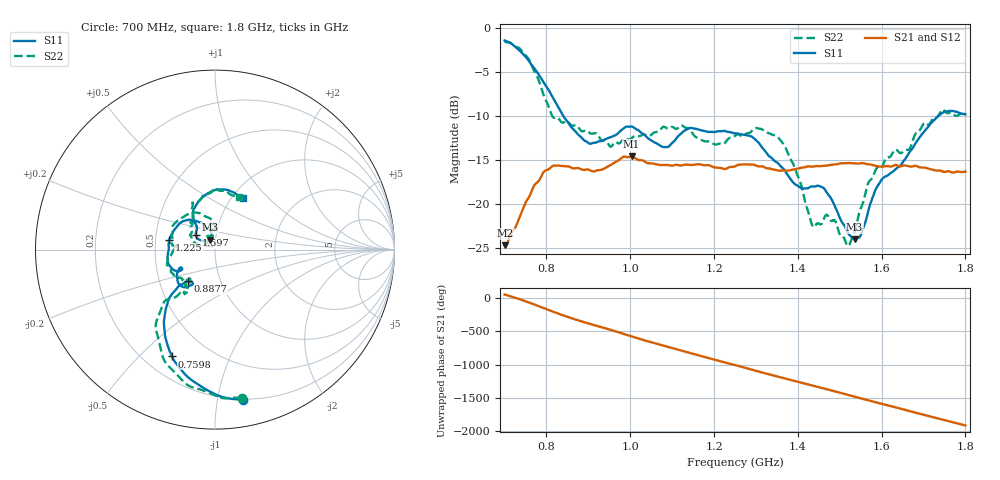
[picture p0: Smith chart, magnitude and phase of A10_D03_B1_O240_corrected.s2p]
! Created with skrf 1.9.0 (http://scikit-rf.org).
# Hz S RI R 50.0
!freq ReS11 ImS11 ReS21 ImS21 ReS12 ImS12 ReS22 ImS22
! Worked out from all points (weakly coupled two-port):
!   1601 points, 700 MHz to 1.8 GHz, reference 50 ohm
!   highest |S21| = -14.55 dB at 1.003 GHz (marker M1); lowest = -24.6 dB at 701.4 MHz (marker M2)
!   lowest |S11| = -24.0 dB at 1.535 GHz (marker M3), VSWR 1.14, Z = 46.9 + j5.29 ohm
!   |S11| at or under -10 dB: 840.6 MHz to 1.735 GHz (893.9 MHz wide, 69.4 % of centre)
!   |S22| runs from -24.7 to -1.5 dB; largest |S21 - S12| = 0.0035
!   S11 on the Smith chart (normalised r, x): 700 MHz: 0.20, -1.19; 759.8 MHz: 0.31, -0.63; 887.7 MHz: 0.70, -0.26; 1.225 GHz: 0.59, +0.07; 1.597 GHz: 0.80, +0.13; 1.8 GHz: 1.12, +0.72
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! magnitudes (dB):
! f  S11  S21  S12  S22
! 700 MHz  -1.4  -24.6  -24.4  -1.5
! 701.4 MHz  -1.4  -24.6  -24.3  -1.5
! 759.8 MHz  -3.9  -19.0  -18.9  -3.7
! 814.8 MHz  -7.8  -15.6  -15.7  -10.1
! 883.6 MHz  -12.4  -16.0  -15.9  -11.7
! 887.7 MHz  -12.6  -16.1  -16.0  -11.7
! 953 MHz  -12.4  -15.5  -15.5  -13.5
! 1.003 GHz  -11.2  -14.6  -14.7  -12.5
! 1.067 GHz  -13.2  -15.5  -15.4  -11.7
! 1.225 GHz  -11.7  -16.0  -15.9  -13.1
! 1.25 GHz  -11.9  -15.7  -15.6  -12.2
! 1.355 GHz  -15.5  -16.2  -16.1  -12.5
! 1.393 GHz  -17.7  -16.0  -16.0  -15.9
! 1.434 GHz  -18.0  -15.7  -15.7  -22.3
! 1.471 GHz  -18.8  -15.6  -15.6  -21.2
! 1.52 GHz  -23.2  -15.3  -15.3  -24.7
! 1.535 GHz  -24.0  -15.3  -15.4  -23.2
! 1.568 GHz  -20.7  -15.4  -15.5  -17.6
! 1.597 GHz  -17.4  -15.7  -15.7  -15.9
! 1.617 GHz  -16.6  -15.7  -15.6  -14.7
! 1.739 GHz  -9.8  -16.2  -16.2  -9.7
! 1.8 GHz  -9.8  -16.3  -16.3  -9.9
